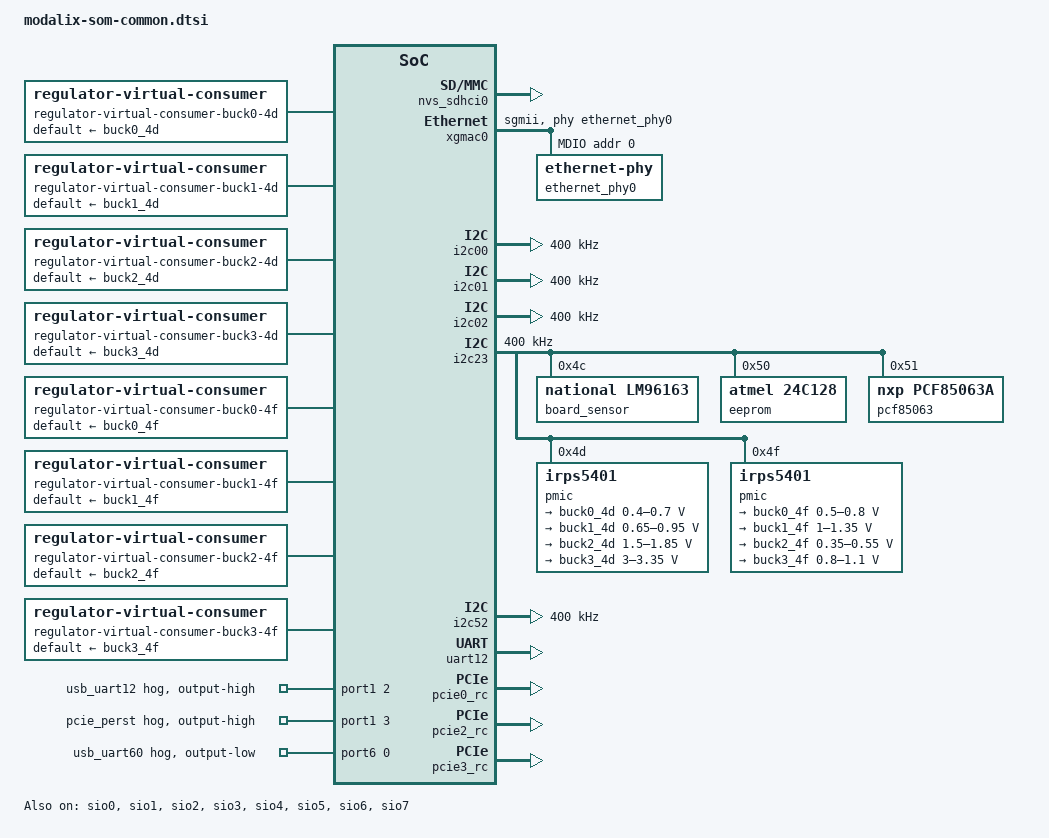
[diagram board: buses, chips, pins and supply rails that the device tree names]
// SPDX-License-Identifier: (GPL-2.0+ OR MIT)
/*
 * Copyright (c) 2025 SiMa ai
 */

/ {
	chosen {
		bootargs = "console=ttyS0,115200n8 root=/dev/ram0 rw rootfstype=ramfs uio_pdrv_genirq.of_id=generic-uio";
		linux,initrd-start = <0x10 0x7D000000>;
		linux,initrd-end = <0x10 0x7E400000>;
	};

	aliases {
		console = &uart12;
		mmc0 = &nvs_sdhci0;
		rtc0 = &pcf85063;
	};

	thermal-zones {
		board {
			polling-delay = <30000>;
			polling-delay-passive = <5000>;
			thermal-sensors = <&board_sensor>;

			trips {
				board_alert: board-alert {
					temperature = <85000>;
					hysteresis = <3000>;
					type = "hot";
				};
				board_crit: board-crit {
					temperature = <96000>;
					hysteresis = <2000>;
					type = "critical";
				};
			};

			cooling-maps {
				map0 {
					trip = <&board_alert>;
				};
				map1 {
					trip = <&board_crit>;
				};
			};
		};
	};
	ptp_clk: ptpclk {
		compatible = "fixed-clock";
		#clock-cells = <0>;
		clock-frequency = <100000000>;
		clock-output-names = "ptpclk";
	};
};

&sio10_clk {
	simaai,ignore-unused = <0x100>;
};

&nvs_sdhci0 {
	status = "okay";
};

&sio0 {
	status = "okay";
};

&sio1 {
	status = "okay";
};

&sio2 {
	status = "okay";
};

&sio3 {
	status = "okay";
};

&sio4 {
	status = "okay";
};

&sio5 {
	status = "okay";
};

&sio6 {
	status = "okay";
};

&sio7 {
	status = "okay";
};

&gpio10 {
	pinctrl-0 = <&pins_gpio12_deafult>, <&pins_gpio13_deafult>;
	pinctrl-names = "default";
	status = "okay";
};

&gpio50 {
	pinctrl-0 = <&pins_gpio56_deafult>, <&pins_gpio57_deafult>;
	pinctrl-names = "default";
	status = "okay";
};

&port1 {
	snps,nr-gpios = <4>;
	usb-hog {
		gpio-hog;
		gpios = <2 GPIO_ACTIVE_HIGH>;
		output-high;
		line-name = "usb_uart12";
	};

	perst-hog {
		gpio-hog;
		gpios = <3 GPIO_ACTIVE_HIGH>;
		output-high;
		line-name = "pcie_perst";
	};
};

&gpio60 {
	pinctrl-0 = <&pins_gpio60_deafult>, <&pins_gpio61_deafult>,
		    <&pins_gpio62_deafult>, <&pins_gpio63_deafult>,
		    <&pins_gpio64_deafult>, <&pins_gpio65_deafult>,
		    <&pins_gpio66_deafult>, <&pins_gpio67_deafult>;
	pinctrl-names = "default";
	status = "okay";
};

&port6 {
	uart-hog {
		gpio-hog;
		gpios = <0 GPIO_ACTIVE_HIGH>;
		output-low;
		line-name = "usb_uart60";
	};
};

&gpio70 {
	pinctrl-0 = <&pins_gpio70_deafult>, <&pins_gpio71_deafult>,
		    <&pins_gpio72_deafult>, <&pins_gpio73_deafult>,
		    <&pins_gpio74_deafult>, <&pins_gpio75_deafult>,
		    <&pins_gpio76_deafult>, <&pins_gpio77_deafult>;
	pinctrl-names = "default";
	status = "okay";
};

&xgmac0 {
	clocks = <&eth_clk>, <&ptp_clk>;
	clock-names = "stmmaceth", "ptp_ref";
	phy-mode = "sgmii";
	managed = "in-band-status";
	snps,ps-speed = <1000>;
	phy-handle = <&ethernet_phy0>;
	status = "okay";
	mdio0 {
		compatible = "snps,dwmac-mdio";
		#address-cells = <1>;
		#size-cells = <0>;

		ethernet_phy0: ethernet-phy@0 {
			reg = <0>;
		};
	};
};

&i2c00 {
	status = "okay";
	clock-frequency = <400000>;
};

&i2c01 {
	status = "okay";
	clock-frequency = <400000>;
};

&i2c02 {
	status = "okay";
	clock-frequency = <400000>;
};

&i2c23 {
	status = "okay";
	clock-frequency = <400000>;

	board_sensor: temp@4c {
		compatible = "national,lm96163";
		reg = <0x4c>;
		#thermal-sensor-cells = <0>;
	};

	eeprom@50 {
		compatible = "atmel,24c128";
		reg = <0x50>;
		pagesize = <64>;
		num-addresses = <1>;
	};

	pcf85063: rtc@51 {
		compatible = "nxp,pcf85063a";
		reg = <0x51>;
	};

	pmic@4d {
		compatible = "irps5401";
		reg = <0x4d>;
		regulators {
		    buck0_4d: buck0 {
			regulator-name = "buck0-4d";
			regulator-min-microvolt = <400000>;   /* 0.40 V */
			regulator-max-microvolt = <700000>;   /* 0.70 V */
			regulator-always-on;
			regulator-boot-on;
		    };
		    buck1_4d: buck1 {
			regulator-name = "buck1-4d";
			regulator-min-microvolt = <650000>;   /* 0.65 V */
			regulator-max-microvolt = <950000>;   /* 0.95 V */
			regulator-always-on;
			regulator-boot-on;
		    };
		    buck2_4d: buck2 {
			regulator-name = "buck2-4d";
			regulator-min-microvolt = <1500000>;  /* 1.50 V */
			regulator-max-microvolt = <1850000>;  /* 1.85 V */
			regulator-always-on;
			regulator-boot-on;
		    };
		    buck3_4d: buck3 {
			regulator-name = "buck3-4d";
			regulator-min-microvolt = <3000000>;  /* 3.0 V  */
			regulator-max-microvolt = <3350000>;  /* 3.35 V */
			regulator-always-on;
			regulator-boot-on;
		    };
		};
	};

	pmic@4f {
		compatible = "irps5401";
		reg = <0x4f>;
		regulators {
		    buck0_4f: buck0 {
			regulator-name = "buck0-4f";
			regulator-min-microvolt = <500000>;    /* 0.50 V */
			regulator-max-microvolt = <800000>;    /* 0.80 V */
			regulator-always-on;
			regulator-boot-on;
		    };
		    buck1_4f: buck1 {
			regulator-name = "buck1-4f";
			regulator-min-microvolt = <1000000>;  /* 1.0 V  */
			regulator-max-microvolt = <1350000>;  /* 1.35 V */
			regulator-always-on;
			regulator-boot-on;
		    };
		    buck2_4f: buck2 {
			regulator-name = "buck2-4f";
			regulator-min-microvolt = <350000>;  /* 0.35 V  */
			regulator-max-microvolt = <550000>;  /* 0.55 V */
			regulator-always-on;
			regulator-boot-on;
		    };
		    buck3_4f: buck3 {
			regulator-name = "buck3-4f";
			regulator-min-microvolt = <800000>;  /* 0.8 V */
			regulator-max-microvolt = <1100000>; /* 1.1 V */
			regulator-always-on;
			regulator-boot-on;
		    };
		};
	};

};

/ {
	regulator-virtual-consumer-buck0-4d {
		compatible = "regulator-virtual-consumer";
		default-supply = <&buck0_4d>;
	};

	regulator-virtual-consumer-buck1-4d {
		compatible = "regulator-virtual-consumer";
		default-supply = <&buck1_4d>;
	};

	regulator-virtual-consumer-buck2-4d {
		compatible = "regulator-virtual-consumer";
		default-supply = <&buck2_4d>;
	};

	regulator-virtual-consumer-buck3-4d {
		compatible = "regulator-virtual-consumer";
		default-supply = <&buck3_4d>;
	};

	regulator-virtual-consumer-buck0-4f {
		compatible = "regulator-virtual-consumer";
		default-supply = <&buck0_4f>;
	};

	regulator-virtual-consumer-buck1-4f {
		compatible = "regulator-virtual-consumer";
		default-supply = <&buck1_4f>;
	};

	regulator-virtual-consumer-buck2-4f {
		compatible = "regulator-virtual-consumer";
		default-supply = <&buck2_4f>;
	};

	regulator-virtual-consumer-buck3-4f {
		compatible = "regulator-virtual-consumer";
		default-supply = <&buck3_4f>;
	};
};

&i2c52 {
	status = "okay";
	clock-frequency = <400000>;
};

&uart12 {
	status = "okay";
};

&gic_its0 {
	status = "okay";
};

&pcie0_rc {
	status = "okay";
};

&gic_its2 {
	status = "okay";
};

&pcie2_rc {
	status = "okay";
};

&gic_its3 {
	status = "okay";
};

&pcie3_rc {
	status = "okay";
};

